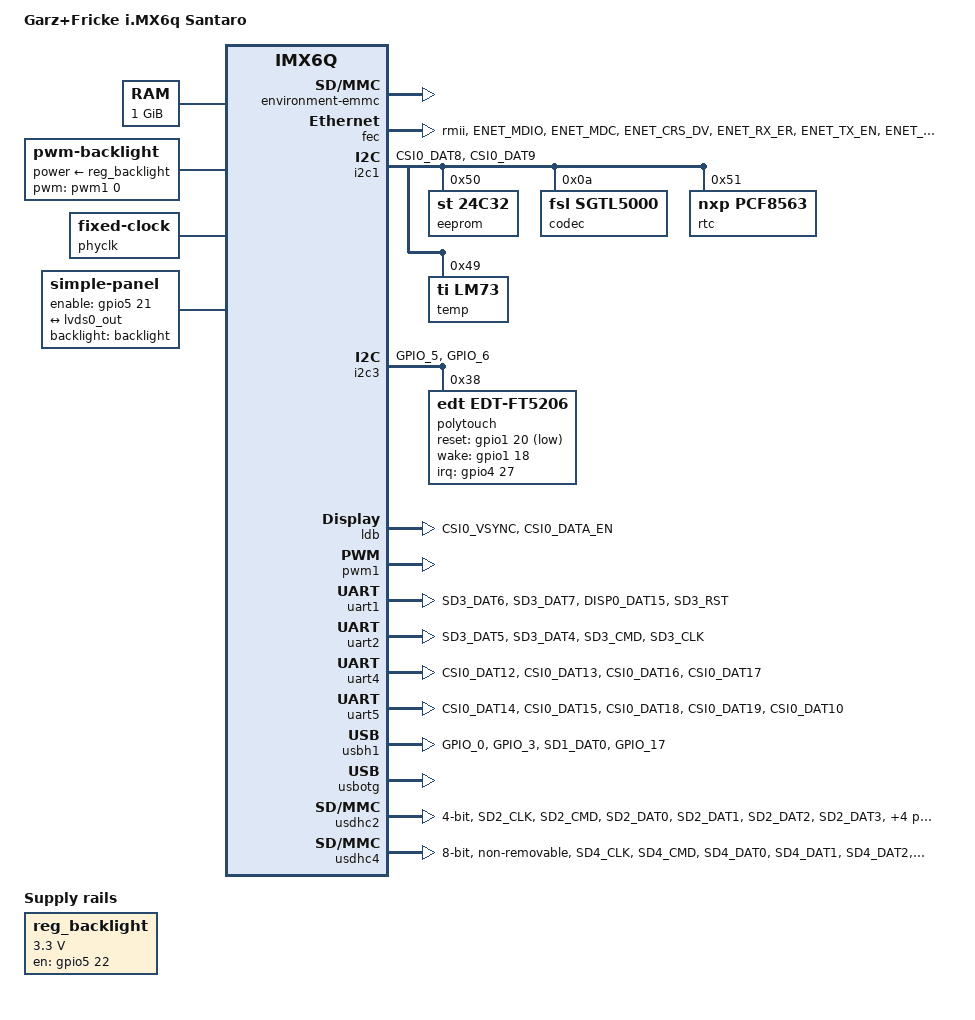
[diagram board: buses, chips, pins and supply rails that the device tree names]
/*
 * Copyright 2014 Sascha Hauer <s.hauer@pengutronix.de>
 *
 * The code contained herein is licensed under the GNU General Public
 * License. You may obtain a copy of the GNU General Public License
 * Version 2 or later at the following locations:
 *
 * http:/*www.opensource.org/licenses/gpl-license.html
 * http:/*www.gnu.org/copyleft/gpl.html
 */

/dts-v1/;

#include <dt-bindings/gpio/gpio.h>
#include <dt-bindings/interrupt-controller/irq.h>
#include <arm/imx6q.dtsi>
#include "imx6q.dtsi"

/ {
	model = "Garz+Fricke i.MX6q Santaro";
	compatible = "guf,imx6q-santaro", "fsl,imx6q";

	memory {
		reg = <0x10000000 0x40000000>;
	};

	chosen {
		linux,stdout-path = &uart2;

		environment-emmc {
			compatible = "barebox,environment";
			device-path = &usdhc4, "partname:boot1";
		};
	};

	reg_backlight: reg_backlight {
		compatible = "regulator-fixed";
		regulator-name = "3P3V";
		regulator-min-microvolt = <3300000>;
		regulator-max-microvolt = <3300000>;
		gpio = <&gpio5 22 0>;
		enable-active-high;
	};

	backlight: backlight {
		pinctrl-names = "default";
		pinctrl-0 = <&pinctrl_backlight>;
		compatible = "pwm-backlight";
		pwms = <&pwm1 0 5000000>;
		brightness-levels = <0 4 8 16 32 64 128 255>;
		default-brightness-level = <7>;
		power-supply = <&reg_backlight>;
		status = "okay";
	};

	phyclk: phyclk {
		compatible = "fixed-clock";
		#clock-cells = <0>;
		clock-frequency = <25000000>;
	};

	panel {
		compatible = "simple-panel";
		backlight = <&backlight>;
		enable-gpios = <&gpio5 21 GPIO_ACTIVE_HIGH>;
		enable-delay = <200>;

		port {
			panel_in: endpoint {
				remote-endpoint = <&lvds0_out>;
			};
		};
	};
};

&fec {
	pinctrl-names = "default";
	pinctrl-0 = <&pinctrl_enet>;
	phy-mode = "rmii";
	status = "okay";
	clocks = <&clks IMX6QDL_CLK_ENET>,
		 <&clks IMX6QDL_CLK_ENET>,
		 <&phyclk>;
};

&i2c1 {
	pinctrl-names = "default";
	pinctrl-0 = <&pinctrl_i2c1>;
	status = "okay";

	eeprom: m24c64@50 {
		compatible = "st,24c32", "at24";
		reg = <0x50>;
	};

	pmic: pf0100@08 {
		status = "disabled";
		pinctrl-names = "default";
		pinctrl-0 = <&pinctrl_pmic>;
		compatible = "pf0100-regulator";
		reg = <0x08>;
		interrupt-parent = <&gpio7>;
		interrupts = <13 8>;

		regulators {
			reg_vddcore: sw1ab {
				regulator-min-microvolt = <300000>;
				regulator-max-microvolt = <1875000>;
				regulator-always-on;
			};

			reg_vddsoc: sw1c {
				regulator-min-microvolt = <300000>;
				regulator-max-microvolt = <1875000>;
				regulator-always-on;
			};

			reg_gen_3v3: sw2 {
				regulator-min-microvolt = <800000>;
				regulator-max-microvolt = <3300000>;
				regulator-always-on;
			};

			reg_ddr_1v5a: sw3a {
				regulator-min-microvolt = <400000>;
				regulator-max-microvolt = <1975000>;
				regulator-always-on;
			};

			reg_ddr_1v5b: sw3b {
				regulator-min-microvolt = <400000>;
				regulator-max-microvolt = <1975000>;
				regulator-always-on;
			};

			reg_ddr_vtt: sw4 {
				regulator-min-microvolt = <400000>;
				regulator-max-microvolt = <1975000>;
				regulator-always-on;
			};

			reg_5v_600mA: swbst {
				regulator-min-microvolt = <5000000>;
				regulator-max-microvolt = <5150000>;
				regulator-always-on;
			};

			reg_snvs_3v: vsnvs {
				regulator-min-microvolt = <1500000>;
				regulator-max-microvolt = <3000000>;
				regulator-always-on;
			};

			reg_vrefddr: vrefddr {
				regulator-min-microvolt = <750000>;
				regulator-max-microvolt = <750000>;
				regulator-always-on;
			};

			reg_vgen1_1v5: vgen1 {
				regulator-min-microvolt = <800000>;
				regulator-max-microvolt = <1550000>;
				/* not used */
			};

			reg_vgen2_1v2_eth: vgen2 {
				regulator-min-microvolt = <800000>;
				regulator-max-microvolt = <1550000>;
				regulator-always-on;
			};

			reg_vgen3_2v8: vgen3 {
				regulator-min-microvolt = <1800000>;
				regulator-max-microvolt = <3300000>;
				regulator-always-on;
			};

			reg_vgen4_1v8: vgen4 {
				regulator-min-microvolt = <1800000>;
				regulator-max-microvolt = <3300000>;
				regulator-always-on;
			};

			reg_vgen5_1v8_eth: vgen5 {
				regulator-min-microvolt = <1800000>;
				regulator-max-microvolt = <3300000>;
				regulator-always-on;
			};

			reg_vgen6_3v3: vgen6 {
				regulator-min-microvolt = <1800000>;
				regulator-max-microvolt = <3300000>;
				regulator-always-on;
			};
		};
	};

	codec: sgtl5000@0a {
		compatible = "fsl,sgtl5000";
		reg = <0x0a>;
		clocks = <&clks 201>;
	};

	rtc@51 {
		compatible = "nxp,pcf8563";
		reg = <0x51>;
	};

	temp@49 {
		compatible = "ti,lm73";
		reg = <0x49>;
	};
};

&i2c3 {
	pinctrl-names = "default";
	pinctrl-0 = <&pinctrl_i2c3>;
	status = "okay";

	polytouch: edt-ft5x06@38 {
		compatible = "edt,edt-ft5206";
		reg = <0x38>;
		pinctrl-names = "default";
		pinctrl-0 = <&pinctrl_touch>;
		interrupt-parent = <&gpio4>;
		interrupts = <27 IRQ_TYPE_EDGE_FALLING>;
		reset-gpios = <&gpio1 20 1>;
		wake-gpios = <&gpio1 18 0>;
		edt,threshold = <30>;
		edt,gain = <3>;
		edt,offset = <0>;
		edt,report-rate = <8>;
	};
};

&iomuxc {
	pinctrl-names = "default";
	pinctrl-0 = <&pinctrl_hog>;

	imx6qdl-santaro {
		pinctrl_hog: hoggrp {
			fsl,pins = <
				MX6QDL_PAD_DISP0_DAT13__GPIO5_IO07		0x80000000 /* ATDETECT */
				MX6QDL_PAD_DISP0_DAT14__GPIO5_IO08		0x80000000 /* EXTPWR */
				MX6QDL_PAD_CSI0_PIXCLK__GPIO5_IO18		0x80000000 /* LED1 */
				MX6QDL_PAD_DISP0_DAT10__GPIO4_IO31		0x80000000 /* CLEAR_ALL */
				MX6QDL_PAD_GPIO_9__WDOG1_B			0x80000000 /* WDT_OUTPUT */
				MX6QDL_PAD_DISP0_DAT8__GPIO4_IO29		0x80000000 /* RTC_INT */
				MX6QDL_PAD_DISP0_DAT7__GPIO4_IO28		0x80000000 /* TALERT */
				MX6QDL_PAD_SD3_DAT2__GPIO7_IO06			0x80000000 /* KP5V_OC */
				MX6QDL_PAD_SD3_DAT3__GPIO7_IO07			0x80000000 /* KP5V_PWR */
				MX6QDL_PAD_DISP0_DAT9__GPIO4_IO30		0x80000000 /* PFO_12V */

				MX6QDL_PAD_CSI0_DAT6__GPIO5_IO24		0x80000000 /* DIG_IN1 */
				MX6QDL_PAD_CSI0_DAT5__GPIO5_IO23		0x80000000 /* DIG_IN2 */
				MX6QDL_PAD_SD1_DAT1__GPIO1_IO17			0x80000000 /* DIG_OUT1 */
				MX6QDL_PAD_CSI0_DAT7__GPIO5_IO25		0x80000000 /* DIG_OUT2 */

				MX6QDL_PAD_SD3_DAT3__GPIO7_IO07			0x80000000 /* KP_5V0 */
			>;
		};

		pinctrl_audio: audiogrp {
			fsl,pins = <
				MX6QDL_PAD_DISP0_DAT20__AUD4_TXC		0x80000000
				MX6QDL_PAD_DISP0_DAT21__AUD4_TXD		0x80000000
				MX6QDL_PAD_DISP0_DAT22__AUD4_TXFS		0x80000000
				MX6QDL_PAD_DISP0_DAT23__AUD4_RXD		0x80000000
				MX6QDL_PAD_CSI0_MCLK__CCM_CLKO1			0x80000000 /* SGTL500 sys_mclk */
				MX6QDL_PAD_CSI0_DAT11__GPIO5_IO29		0x80000000 /* SPEAKER_ON */
			>;
		};

		pinctrl_display: displaygrp {
			fsl,pins = <
				/* LVDS-GPIO */
				MX6QDL_PAD_CSI0_VSYNC__GPIO5_IO21		0x80000000 /* LCD_ENABLE */
				MX6QDL_PAD_CSI0_DATA_EN__GPIO5_IO20		0x80000000 /* SEL6_8 */
			>;
		};

		pinctrl_backlight: backlightgrp {
			fsl,pins = <
				MX6QDL_PAD_SD1_DAT3__PWM1_OUT			0x80000000 /* BL-PWM-Out */
				MX6QDL_PAD_CSI0_DAT4__GPIO5_IO22		0x80000000 /* BL-ON */
			>;
		};

		pinctrl_i2c1: i2c1grp {
			fsl,pins = <
				/* I2C1	(internal) */
				MX6QDL_PAD_CSI0_DAT8__I2C1_SDA			0x4001b8b1
				MX6QDL_PAD_CSI0_DAT9__I2C1_SCL			0x4001b8b1
			>;
		};

		pinctrl_i2c3: i2c3grp {
			fsl,pins = <
				/* I2C3  (HDMI-DCC, ResTOUCH, CTOUCH ) */
				MX6QDL_PAD_GPIO_5__I2C3_SCL			0x4001b8b1
				MX6QDL_PAD_GPIO_6__I2C3_SDA			0x4001b8b1
			>;
		};

		pinctrl_touch: touchgrp {
			fsl,pins = <
				MX6QDL_PAD_DISP0_DAT5__GPIO4_IO26		0x80000000 /* CTOUCH_INT2 */
				MX6QDL_PAD_DISP0_DAT6__GPIO4_IO27		0x80000000 /* CTOUCH_INT */
				MX6QDL_PAD_SD1_CMD__GPIO1_IO18			0x80000000 /* CTOUCH_RESET2 */
				MX6QDL_PAD_SD1_CLK__GPIO1_IO20			0x80000000 /* CTOUCH_RESET */
				MX6QDL_PAD_DISP0_DAT12__GPIO5_IO06		0x80000000 /* ResTOUCH_INT */
			>;
		};

		pinctrl_ecspi2: ecspi2grp {
			fsl,pins = <
				/* CTOUCH */
				MX6QDL_PAD_DISP0_DAT16__ECSPI2_MOSI		0x80000000
				MX6QDL_PAD_DISP0_DAT17__ECSPI2_MISO		0x80000000
				MX6QDL_PAD_DISP0_DAT18__ECSPI2_SS0		0x80000000
				MX6QDL_PAD_DISP0_DAT19__ECSPI2_SCLK		0x80000000
				MX6QDL_PAD_EIM_A25__ECSPI2_RDY			0x80000000
			>;
		};

		pinctrl_can1: can1grp {
			fsl,pins = <
				MX6QDL_PAD_GPIO_7__FLEXCAN1_TX			0x80000000
				MX6QDL_PAD_GPIO_8__FLEXCAN1_RX			0x80000000
			>;
		};

		pinctrl_can2: can2grp {
			fsl,pins = <
				MX6QDL_PAD_SD3_DAT0__FLEXCAN2_TX		0x80000000
				MX6QDL_PAD_SD3_DAT1__FLEXCAN2_RX		0x80000000
			>;
		};


		pinctrl_uart1: uart1grp {
			fsl,pins = <
				MX6QDL_PAD_SD3_DAT6__UART1_RX_DATA		0x1b0b1
				MX6QDL_PAD_SD3_DAT7__UART1_TX_DATA		0x1b0b1
				MX6QDL_PAD_DISP0_DAT15__GPIO5_IO09		0x1b0b1 /* CAN/RS485_PWR_EN */
				MX6QDL_PAD_SD3_RST__GPIO7_IO08			0x1b0b1 /* RS485_DE */
			>;
		};

		pinctrl_uart2: uart2grp {
			fsl,pins = <
				MX6QDL_PAD_SD3_DAT5__UART2_TX_DATA		0x1b0b1
				MX6QDL_PAD_SD3_DAT4__UART2_RX_DATA		0x1b0b1
				MX6QDL_PAD_SD3_CMD__UART2_CTS_B			0x1b0b1
				MX6QDL_PAD_SD3_CLK__UART2_RTS_B			0x1b0b1
			>;
		};

		pinctrl_uart4: uart4grp {
			fsl,pins = <
				MX6QDL_PAD_CSI0_DAT12__UART4_TX_DATA		0x1b0b1
				MX6QDL_PAD_CSI0_DAT13__UART4_RX_DATA		0x1b0b1
				MX6QDL_PAD_CSI0_DAT16__UART4_RTS_B		0x1b0b1
				MX6QDL_PAD_CSI0_DAT17__UART4_CTS_B		0x1b0b1
			>;
		};

		pinctrl_uart5: uart5grp {
			fsl,pins = <
				MX6QDL_PAD_CSI0_DAT14__UART5_TX_DATA		0x1b0b1
				MX6QDL_PAD_CSI0_DAT15__UART5_RX_DATA		0x1b0b1
				MX6QDL_PAD_CSI0_DAT18__UART5_RTS_B		0x1b0b1
				MX6QDL_PAD_CSI0_DAT19__UART5_CTS_B		0x1b0b1
				MX6QDL_PAD_CSI0_DAT10__GPIO5_IO28		0x1b0b1 /* uC_MDB_WakeUpOut */
			>;
		};

		pinctrl_usdhc2: usdhc2grp {
			fsl,pins = <
				MX6QDL_PAD_SD2_CLK__SD2_CLK			0x80000000
				MX6QDL_PAD_SD2_CMD__SD2_CMD			0x80000000
				MX6QDL_PAD_SD2_DAT0__SD2_DATA0			0x80000000
				MX6QDL_PAD_SD2_DAT1__SD2_DATA1			0x80000000
				MX6QDL_PAD_SD2_DAT2__SD2_DATA2			0x80000000
				MX6QDL_PAD_SD2_DAT3__SD2_DATA3			0x80000000
				MX6QDL_PAD_GPIO_2__GPIO1_IO02			0x80000000
				MX6QDL_PAD_GPIO_4__GPIO1_IO04			0x80000000
			>;
		};

		pinctrl_usdhc4: usdhc4grp {
			fsl,pins = <
				MX6QDL_PAD_SD4_CLK__SD4_CLK			0x80000000
				MX6QDL_PAD_SD4_CMD__SD4_CMD			0x80000000
				MX6QDL_PAD_SD4_DAT0__SD4_DATA0			0x80000000
				MX6QDL_PAD_SD4_DAT1__SD4_DATA1			0x80000000
				MX6QDL_PAD_SD4_DAT2__SD4_DATA2			0x80000000
				MX6QDL_PAD_SD4_DAT3__SD4_DATA3			0x80000000
				MX6QDL_PAD_SD4_DAT4__SD4_DATA4			0x80000000
				MX6QDL_PAD_SD4_DAT5__SD4_DATA5			0x80000000
				MX6QDL_PAD_SD4_DAT6__SD4_DATA6			0x80000000
				MX6QDL_PAD_SD4_DAT7__SD4_DATA7			0x80000000
			>;
		};

		pinctrl_enet: enetgrp {
			fsl,pins = <
				MX6QDL_PAD_ENET_MDIO__ENET_MDIO			0x1b0b0
				MX6QDL_PAD_ENET_MDC__ENET_MDC			0x1b0b0
				MX6QDL_PAD_ENET_CRS_DV__ENET_RX_EN		0x1b0b0
				MX6QDL_PAD_ENET_RX_ER__ENET_RX_ER		0x1b0b0
				MX6QDL_PAD_ENET_TX_EN__ENET_TX_EN		0x1b0b0
				MX6QDL_PAD_ENET_RXD0__ENET_RX_DATA0		0x1b0b0
				MX6QDL_PAD_ENET_RXD1__ENET_RX_DATA1		0x1b0b0
				MX6QDL_PAD_ENET_TXD0__ENET_TX_DATA0		0x1b0b0
				MX6QDL_PAD_ENET_TXD1__ENET_TX_DATA1		0x1b0b0
				MX6QDL_PAD_GPIO_16__ENET_REF_CLK		0x1b0b0 /* REF_CLK (in) */
				MX6QDL_PAD_ENET_REF_CLK__GPIO1_IO23		0x1b0b0 /* FEC_INT */
			>;
		};

		pinctrl_usbh1: usbh1grp {
			fsl,pins = <
				MX6QDL_PAD_GPIO_0__USB_H1_PWR			0x80000000
				MX6QDL_PAD_GPIO_3__USB_H1_OC			0x80000000
				MX6QDL_PAD_SD1_DAT0__GPIO1_IO16			0x80000000 /* USB_HUB_CONNECT */
				MX6QDL_PAD_GPIO_17__GPIO7_IO12			0x80000000 /* USB_HUB_INT */
			>;
		};

		pinctrl_usbh2: usbh2grp {
			fsl,pins = <
				MX6QDL_PAD_RGMII_TXC__USB_H2_DATA		0x80000000 /* USBH2_DATA */
				MX6QDL_PAD_RGMII_TX_CTL__USB_H2_STROBE		0x80000000 /* USBH2_STROBE */
			>;
		};

		pinctrl_usboth: usbotggrp {
			fsl,pins = <
				MX6QDL_PAD_KEY_COL4__USB_OTG_OC			0x80000000
				MX6QDL_PAD_KEY_ROW4__USB_OTG_PWR		0x80000000
				MX6QDL_PAD_GPIO_1__USB_OTG_ID			0x80000000
			>;
		};

		pinctrl_pmic: pmicgrp {
			fsl,pins = <
				MX6QDL_PAD_GPIO_18__GPIO7_IO13			0x80000000 /* PMIC_INT_B */
			>;
		};

		pinctrl_pfid: pfidgrp {
			fsl,pins = <
				MX6QDL_PAD_NANDF_D0__GPIO2_IO00			0x80000000 /* PFID0 */
				MX6QDL_PAD_NANDF_D1__GPIO2_IO01			0x80000000 /* PFID1 */
				MX6QDL_PAD_NANDF_D2__GPIO2_IO02			0x80000000 /* PFID2 */
				MX6QDL_PAD_NANDF_D3__GPIO2_IO03			0x80000000 /* PFID3 */
				MX6QDL_PAD_NANDF_D4__GPIO2_IO04			0x80000000 /* PFID4 */
				MX6QDL_PAD_NANDF_D5__GPIO2_IO05			0x80000000 /* PFID5 */
				MX6QDL_PAD_NANDF_D6__GPIO2_IO06			0x80000000 /* PFID6 */
				MX6QDL_PAD_NANDF_D7__GPIO2_IO07			0x80000000 /* PFID7 */
			>;
		};

		pinctrl_sram: sramgrp {
			fsl,pins = <
				MX6QDL_PAD_EIM_CS0__EIM_CS0_B			0x80000000
				MX6QDL_PAD_EIM_DA0__EIM_AD00			0x80000000
				MX6QDL_PAD_EIM_DA1__EIM_AD01			0x80000000
				MX6QDL_PAD_EIM_DA2__EIM_AD02			0x80000000
				MX6QDL_PAD_EIM_DA3__EIM_AD03			0x80000000
				MX6QDL_PAD_EIM_DA4__EIM_AD04			0x80000000
				MX6QDL_PAD_EIM_DA5__EIM_AD05			0x80000000
				MX6QDL_PAD_EIM_DA6__EIM_AD06			0x80000000
				MX6QDL_PAD_EIM_DA7__EIM_AD07			0x80000000
				MX6QDL_PAD_EIM_DA8__EIM_AD08			0x80000000
				MX6QDL_PAD_EIM_DA9__EIM_AD09			0x80000000
				MX6QDL_PAD_EIM_DA10__EIM_AD10			0x80000000
				MX6QDL_PAD_EIM_DA11__EIM_AD11			0x80000000
				MX6QDL_PAD_EIM_DA12__EIM_AD12			0x80000000
				MX6QDL_PAD_EIM_DA13__EIM_AD13			0x80000000
				MX6QDL_PAD_EIM_DA14__EIM_AD14			0x80000000
				MX6QDL_PAD_EIM_DA15__EIM_AD15			0x80000000
				MX6QDL_PAD_EIM_A16__EIM_ADDR16			0x80000000
				MX6QDL_PAD_EIM_A17__EIM_ADDR17			0x80000000
				MX6QDL_PAD_EIM_A18__EIM_ADDR18			0x80000000
				MX6QDL_PAD_EIM_A19__EIM_ADDR19			0x80000000
				MX6QDL_PAD_EIM_A20__EIM_ADDR20			0x80000000
				MX6QDL_PAD_EIM_D16__EIM_DATA16			0x80000000
				MX6QDL_PAD_EIM_D17__EIM_DATA17			0x80000000
				MX6QDL_PAD_EIM_D18__EIM_DATA18			0x80000000
				MX6QDL_PAD_EIM_D19__EIM_DATA19			0x80000000
				MX6QDL_PAD_EIM_D20__EIM_DATA20			0x80000000
				MX6QDL_PAD_EIM_D21__EIM_DATA21			0x80000000
				MX6QDL_PAD_EIM_D22__EIM_DATA22			0x80000000
				MX6QDL_PAD_EIM_D23__EIM_DATA23			0x80000000
				MX6QDL_PAD_EIM_D24__EIM_DATA24			0x80000000
				MX6QDL_PAD_EIM_D25__EIM_DATA25			0x80000000
				MX6QDL_PAD_EIM_D26__EIM_DATA26			0x80000000
				MX6QDL_PAD_EIM_D27__EIM_DATA27			0x80000000
				MX6QDL_PAD_EIM_D28__EIM_DATA28			0x80000000
				MX6QDL_PAD_EIM_D29__EIM_DATA29			0x80000000
				MX6QDL_PAD_EIM_D30__EIM_DATA30			0x80000000
				MX6QDL_PAD_EIM_D31__EIM_DATA31			0x80000000
			>;
		};
	};
};

&ldb {
	status = "okay";
	pinctrl-names = "default";
	pinctrl-0 = <&pinctrl_display>;

	lvds-channel@0 {
		status = "okay";
		fsl,data-mapping = "spwg";
		fsl,data-width = <18>;

		display-timings {
			timing0: 800x480 {
				clock-frequency = <35338240>;
				hactive = <800>;
				vactive = <480>;
				hfront-porch = <100>;
				hback-porch = <100>;
				hsync-len = <24>;
				hsync-active = <1>;
				vfront-porch = <5>;
				vback-porch = <5>;
				vsync-len = <3>;
				vsync-active = <1>;
			};
		};

		port@4 {
			reg = <4>;
			lvds0_out: endpoint {
				remote-endpoint = <&panel_in>;
			};
		};
	};
};

&pwm1 {
	status = "okay";
};

&uart1 {
	/* RS485 */
	pinctrl-names = "default";
	pinctrl-0 = <&pinctrl_uart1>;
	status = "okay";
};

&uart2 {
	/* RS232 debug port */
	pinctrl-names = "default";
	pinctrl-0 = <&pinctrl_uart2>;
	fsl,uart-has-rtscts;
	status = "okay";
};

&uart4 {
	/* TTL internal */
	pinctrl-names = "default";
	pinctrl-0 = <&pinctrl_uart4>;
	fsl,uart-has-rtscts;
	status = "okay";
};

&uart5 {
	/* RS232 MDB */
	pinctrl-names = "default";
	pinctrl-0 = <&pinctrl_uart5>;
	fsl,uart-has-rtscts;
	status = "okay";
};

&usbh1 {
	pinctrl-names = "default";
	pinctrl-0 = <&pinctrl_usbh1>;
	status = "okay";
};

&usbotg {
	status = "okay";
};

&usdhc2 {
	/* SD card socket */
	pinctrl-names = "default";
	pinctrl-0 = <&pinctrl_usdhc2>;
	bus-width = <4>;
	cd-gpios = <&gpio1 4 0>;
	wp-gpios = <&gpio1 2 0>;
	status = "okay";
	#address-cells = <1>;
	#size-cells = <1>;

	partition@e0000 {
		label = "barebox-environment";
		reg = <0xe0000 0x20000>;
	};
};

&usdhc4 {
	/* eMMC */
	pinctrl-names = "default";
	pinctrl-0 = <&pinctrl_usdhc4>;
	bus-width = <8>;
	non-removable;
	status = "okay";
};
